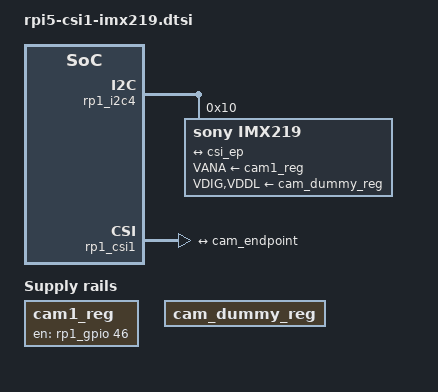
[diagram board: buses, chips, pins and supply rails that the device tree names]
/* IMX219 Camera on CSI1 */

/ {
    cam1_clk: cam1_clk {
	    compatible = "fixed-clock";
	    #clock-cells = <0>;
		status = "okay";
		clock-frequency = <24000000>;
    };

    cam1_reg: cam1_reg {
	    compatible = "regulator-fixed";
	    regulator-name = "cam1_reg";
	    enable-active-high;
	    status = "okay";
	    gpio = <&rp1_gpio 46 0>;  // CD1_IO0_MICCLK, to MIPI 1 connector
    };

    cam_dummy_reg: cam_dummy_reg {
	    compatible = "regulator-fixed";
	    regulator-name = "cam-dummy-reg";
	    status = "okay";
    };
};

&rp1_i2c4 {
	#address-cells = <1>;
	#size-cells = <0>;
	status = "okay";

	imx219@10 {
		compatible = "sony,imx219";
		reg = <0x10>;
	    	status = "okay";

		clocks = <&cam1_clk>;
		clock-names = "xclk";

		VANA-supply = <&cam1_reg>;	/* 2.8v */
		VDIG-supply = <&cam_dummy_reg>;	/* 1.8v */
		VDDL-supply = <&cam_dummy_reg>;	/* 1.2v */

		rotation = <180>;
		orientation = <2>;

		port {
			cam_endpoint: endpoint {
				remote-endpoint = <&csi_ep>;
				clock-lanes = <0>;
				data-lanes = <1 2>;
				clock-noncontinuous;
				link-frequencies = /bits/ 64 <456000000>;
			};
		};
	};

	vcm: ad5398@c {
		compatible = "adi,ad5398";
		reg = <0x0c>;
		status = "disabled";
		VANA-supply = <&cam1_reg>;
	};
};

&rp1_csi1 {
	status = "okay";

	port {
		csi_ep: endpoint {
			remote-endpoint = <&cam_endpoint>;
			clock-lanes = <0>;
			data-lanes = <1 2>;
			clock-noncontinuous;
		};
	};
};
